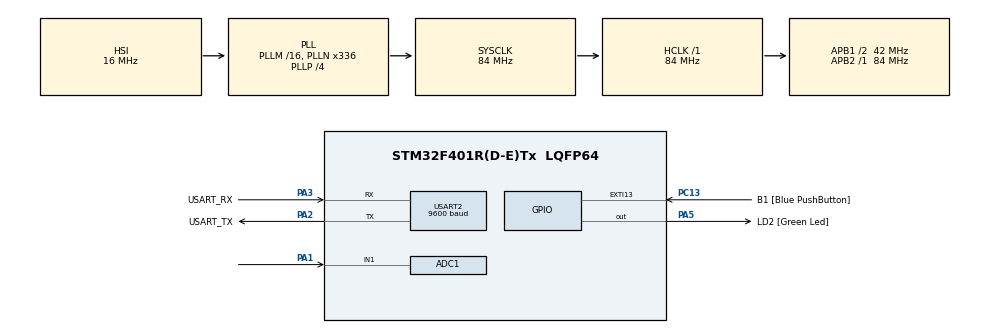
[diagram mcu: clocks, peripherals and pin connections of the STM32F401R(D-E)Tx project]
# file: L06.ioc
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ADC1.Channel-0\#ChannelRegularConversion=ADC_CHANNEL_1
ADC1.Channel-1\#ChannelRegularConversion=ADC_CHANNEL_TEMPSENSOR
ADC1.Channel-2\#ChannelRegularConversion=ADC_CHANNEL_VREFINT
ADC1.DMAContinuousRequests=ENABLE
ADC1.ExternalTrigConv=ADC_EXTERNALTRIGCONV_T2_TRGO
ADC1.ExternalTrigConvEdge=ADC_EXTERNALTRIGCONVEDGE_RISING
ADC1.NbrOfConversion=3
ADC1.NbrOfConversionFlag=1
ADC1.Rank-0\#ChannelRegularConversion=1
ADC1.Rank-1\#ChannelRegularConversion=2
ADC1.Rank-2\#ChannelRegularConversion=3
ADC1.SamplingTime-0\#ChannelRegularConversion=ADC_SAMPLETIME_480CYCLES
ADC1.SamplingTime-1\#ChannelRegularConversion=ADC_SAMPLETIME_480CYCLES
ADC1.SamplingTime-2\#ChannelRegularConversion=ADC_SAMPLETIME_480CYCLES
ADC1.ScanConvMode=ENABLE
ADC1.master=1
Dma.ADC1.0.Direction=DMA_PERIPH_TO_MEMORY
Dma.ADC1.0.FIFOMode=DMA_FIFOMODE_DISABLE
Dma.ADC1.0.Instance=DMA2_Stream0
Dma.ADC1.0.MemDataAlignment=DMA_MDATAALIGN_HALFWORD
Dma.ADC1.0.MemInc=DMA_MINC_ENABLE
Dma.ADC1.0.Mode=DMA_CIRCULAR
Dma.ADC1.0.PeriphDataAlignment=DMA_PDATAALIGN_HALFWORD
Dma.ADC1.0.PeriphInc=DMA_PINC_DISABLE
Dma.ADC1.0.Priority=DMA_PRIORITY_LOW
Dma.Request0=ADC1
Dma.Request1=USART2_TX
Dma.USART2_TX.1.Direction=DMA_MEMORY_TO_PERIPH
Dma.USART2_TX.1.FIFOMode=DMA_FIFOMODE_DISABLE
Dma.USART2_TX.1.Instance=DMA1_Stream6
Dma.USART2_TX.1.MemDataAlignment=DMA_MDATAALIGN_BYTE
Dma.USART2_TX.1.MemInc=DMA_MINC_ENABLE
Dma.USART2_TX.1.Mode=DMA_NORMAL
Dma.USART2_TX.1.PeriphDataAlignment=DMA_PDATAALIGN_BYTE
Dma.USART2_TX.1.PeriphInc=DMA_PINC_DISABLE
Dma.USART2_TX.1.Priority=DMA_PRIORITY_LOW
Mcu.Family=STM32F4
Mcu.Name=STM32F401R(D-E)Tx
Mcu.Package=LQFP64
NVIC.ADC_IRQn=true\:0\:0\:false\:false\:true\:true\:true\:true
NVIC.DMA1_Stream6_IRQn=true\:1\:0\:true\:false\:true\:false\:true\:true
NVIC.DMA2_Stream0_IRQn=true\:1\:0\:true\:false\:true\:false\:true\:true
NVIC.PriorityGroup=NVIC_PRIORITYGROUP_1
NVIC.TIM2_IRQn=true\:0\:0\:false\:false\:true\:true\:true\:true
NVIC.USART2_IRQn=true\:0\:0\:false\:false\:true\:true\:true\:true
PA1.Signal=ADCx_IN1
PA13.GPIO_Label=TMS
PA13.Mode=Serial_Wire
PA13.Signal=SYS_JTMS-SWDIO
PA14.GPIO_Label=TCK
PA14.Mode=Serial_Wire
PA14.Signal=SYS_JTCK-SWCLK
PA2.GPIO_Label=USART_TX
PA2.GPIO_Mode=GPIO_MODE_AF_PP
PA2.GPIO_PuPd=GPIO_NOPULL
PA2.GPIO_Speed=GPIO_SPEED_FREQ_LOW
PA2.Mode=Asynchronous
PA2.Signal=USART2_TX
PA3.GPIO_Label=USART_RX
PA3.GPIO_Mode=GPIO_MODE_AF_PP
PA3.GPIO_PuPd=GPIO_NOPULL
PA3.GPIO_Speed=GPIO_SPEED_FREQ_LOW
PA3.Mode=Asynchronous
PA3.Signal=USART2_RX
PA5.GPIO_Label=LD2 [Green Led]
PA5.GPIO_Mode=GPIO_MODE_OUTPUT_PP
PA5.GPIO_PuPd=GPIO_NOPULL
PA5.GPIO_Speed=GPIO_SPEED_FREQ_LOW
PA5.Signal=GPIO_Output
PB3.GPIO_Label=SWO
PB3.Signal=SYS_JTDO-SWO
PC13-ANTI_TAMP.GPIO_Label=B1 [Blue PushButton]
PC13-ANTI_TAMP.GPIO_ModeDefaultEXTI=GPIO_MODE_IT_FALLING
PC13-ANTI_TAMP.GPIO_PuPd=GPIO_NOPULL
PC13-ANTI_TAMP.Signal=GPXTI13
PC14-OSC32_IN.Mode=LSE-External-Oscillator
PC14-OSC32_IN.Signal=RCC_OSC32_IN
PC15-OSC32_OUT.Mode=LSE-External-Oscillator
PC15-OSC32_OUT.Signal=RCC_OSC32_OUT
PH0\ -\ OSC_IN.Mode=HSE-External-Clock-Source
PH0\ -\ OSC_IN.Signal=RCC_OSC_IN
PH1\ -\ OSC_OUT.Mode=HSE-External-Clock-Source
PH1\ -\ OSC_OUT.Signal=RCC_OSC_OUT
ProjectManager.HeapSize=0x200
ProjectManager.StackSize=0x400
ProjectManager.TargetToolchain=STM32CubeIDE
RCC.48MHZClocksFreq_Value=48000000
RCC.AHBFreq_Value=84000000
RCC.APB1CLKDivider=RCC_HCLK_DIV2
RCC.APB1Freq_Value=42000000
RCC.APB1TimFreq_Value=84000000
RCC.APB2Freq_Value=84000000
RCC.APB2TimFreq_Value=84000000
RCC.CortexFreq_Value=84000000
RCC.HCLKFreq_Value=84000000
RCC.HSE_VALUE=8000000
RCC.HSI_VALUE=16000000
RCC.PLLN=336
RCC.PLLP=RCC_PLLP_DIV4
RCC.PLLQ=7
RCC.SYSCLKFreq_VALUE=84000000
RCC.SYSCLKSource=RCC_SYSCLKSOURCE_PLLCLK
RCC.VCOOutputFreq_Value=336000000
SH.ADCx_IN1.0=ADC1_IN1,IN1
TIM2.Period=9999
TIM2.Prescaler=8399
TIM2.TIM_MasterOutputTrigger=TIM_TRGO_UPDATE
USART2.BaudRate=9600
USART2.VirtualMode=VM_ASYNC
VP_ADC1_TempSens_Input.Mode=IN-TempSens
VP_ADC1_Vref_Input.Mode=IN-Vrefint
VP_TIM2_VS_ClockSourceINT.Mode=Internal
board=NUCLEO-F401RE

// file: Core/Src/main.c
/* USER CODE BEGIN Header */
/**
  ******************************************************************************
  * @file           : main.c
  * @brief          : Main program body
  ******************************************************************************
  * @attention
  *
  * Copyright (c) 2024 STMicroelectronics.
  * All rights reserved.
  *
  * This software is licensed under terms that can be found in the LICENSE file
  * in the root directory of this software component.
  * If no LICENSE file comes with this software, it is provided AS-IS.
  *
  ******************************************************************************
  */
/* USER CODE END Header */
#include "main.h"

/* USER CODE BEGIN Includes */
#include <stdio.h>
/* USER CODE END Includes */

/* USER CODE BEGIN PD */
#define CONVERSIONS 3
#define FSR 3.3
#define V25 0.76
#define RESOLUTION_STEPS 4096.0
#define AVG_SLOPE 2.5
/* USER CODE END PD */

ADC_HandleTypeDef hadc1;
DMA_HandleTypeDef hdma_adc1;

TIM_HandleTypeDef htim2;

UART_HandleTypeDef huart2;
DMA_HandleTypeDef hdma_usart2_tx;

void SystemClock_Config(void);
static void MX_GPIO_Init(void);
static void MX_DMA_Init(void);
static void MX_USART2_UART_Init(void);
static void MX_TIM2_Init(void);
static void MX_ADC1_Init(void);

/* USER CODE BEGIN 0 */
uint16_t values[CONVERSIONS]; // array to be filled by ADC with DMA
float pot_voltage, temperature, vref; // values to be printed
char string[128]; //string to be sent through UART
uint16_t length; //length of string
/* USER CODE END 0 */

int main(void)
{

  /* MCU Configuration--------------------------------------------------------*/

  /* Reset of all peripherals, Initializes the Flash interface and the Systick. */
  HAL_Init();

  /* Configure the system clock */
  SystemClock_Config();

  /* Initialize all configured peripherals */
  MX_GPIO_Init();
  MX_DMA_Init();
  MX_USART2_UART_Init();
  MX_TIM2_Init();
  MX_ADC1_Init();
  /* USER CODE BEGIN 2 */
  HAL_TIM_Base_Start(&htim2);
  HAL_ADC_Start_DMA(&hadc1, values, CONVERSIONS);
  /* USER CODE END 2 */

  /* Infinite loop */
  while (1)
  {

  }
}

void SystemClock_Config(void)
{
  RCC_OscInitTypeDef RCC_OscInitStruct = {0};
  RCC_ClkInitTypeDef RCC_ClkInitStruct = {0};

  /** Configure the main internal regulator output voltage
  */
  __HAL_RCC_PWR_CLK_ENABLE();
  __HAL_PWR_VOLTAGESCALING_CONFIG(PWR_REGULATOR_VOLTAGE_SCALE2);

  /** Initializes the RCC Oscillators according to the specified parameters
  * in the RCC_OscInitTypeDef structure.
  */
  RCC_OscInitStruct.OscillatorType = RCC_OSCILLATORTYPE_HSI;
  RCC_OscInitStruct.HSIState = RCC_HSI_ON;
  RCC_OscInitStruct.HSICalibrationValue = RCC_HSICALIBRATION_DEFAULT;
  RCC_OscInitStruct.PLL.PLLState = RCC_PLL_ON;
  RCC_OscInitStruct.PLL.PLLSource = RCC_PLLSOURCE_HSI;
  RCC_OscInitStruct.PLL.PLLM = 16;
  RCC_OscInitStruct.PLL.PLLN = 336;
  RCC_OscInitStruct.PLL.PLLP = RCC_PLLP_DIV4;
  RCC_OscInitStruct.PLL.PLLQ = 7;
  if (HAL_RCC_OscConfig(&RCC_OscInitStruct) != HAL_OK)
  {
    Error_Handler();
  }

  /** Initializes the CPU, AHB and APB buses clocks
  */
  RCC_ClkInitStruct.ClockType = RCC_CLOCKTYPE_HCLK|RCC_CLOCKTYPE_SYSCLK
                              |RCC_CLOCKTYPE_PCLK1|RCC_CLOCKTYPE_PCLK2;
  RCC_ClkInitStruct.SYSCLKSource = RCC_SYSCLKSOURCE_PLLCLK;
  RCC_ClkInitStruct.AHBCLKDivider = RCC_SYSCLK_DIV1;
  RCC_ClkInitStruct.APB1CLKDivider = RCC_HCLK_DIV2;
  RCC_ClkInitStruct.APB2CLKDivider = RCC_HCLK_DIV1;

  if (HAL_RCC_ClockConfig(&RCC_ClkInitStruct, FLASH_LATENCY_2) != HAL_OK)
  {
    Error_Handler();
  }
}

static void MX_ADC1_Init(void)
{

  ADC_ChannelConfTypeDef sConfig = {0};

  /** Configure the global features of the ADC (Clock, Resolution, Data Alignment and number of conversion)
  */
  hadc1.Instance = ADC1;
  hadc1.Init.ClockPrescaler = ADC_CLOCK_SYNC_PCLK_DIV4;
  hadc1.Init.Resolution = ADC_RESOLUTION_12B;
  hadc1.Init.ScanConvMode = ENABLE;
  hadc1.Init.ContinuousConvMode = DISABLE;
  hadc1.Init.DiscontinuousConvMode = DISABLE;
  hadc1.Init.ExternalTrigConvEdge = ADC_EXTERNALTRIGCONVEDGE_RISING;
  hadc1.Init.ExternalTrigConv = ADC_EXTERNALTRIGCONV_T2_TRGO;
  hadc1.Init.DataAlign = ADC_DATAALIGN_RIGHT;
  hadc1.Init.NbrOfConversion = 3;
  hadc1.Init.DMAContinuousRequests = ENABLE;
  hadc1.Init.EOCSelection = ADC_EOC_SINGLE_CONV;
  if (HAL_ADC_Init(&hadc1) != HAL_OK)
  {
    Error_Handler();
  }

  /** Configure for the selected ADC regular channel its corresponding rank in the sequencer and its sample time.
  */
  sConfig.Channel = ADC_CHANNEL_1;
  sConfig.Rank = 1;
  sConfig.SamplingTime = ADC_SAMPLETIME_480CYCLES;
  if (HAL_ADC_ConfigChannel(&hadc1, &sConfig) != HAL_OK)
  {
    Error_Handler();
  }

  /** Configure for the selected ADC regular channel its corresponding rank in the sequencer and its sample time.
  */
  sConfig.Channel = ADC_CHANNEL_TEMPSENSOR;
  sConfig.Rank = 2;
  if (HAL_ADC_ConfigChannel(&hadc1, &sConfig) != HAL_OK)
  {
    Error_Handler();
  }

  /** Configure for the selected ADC regular channel its corresponding rank in the sequencer and its sample time.
  */
  sConfig.Channel = ADC_CHANNEL_VREFINT;
  sConfig.Rank = 3;
  if (HAL_ADC_ConfigChannel(&hadc1, &sConfig) != HAL_OK)
  {
    Error_Handler();
  }

}

static void MX_TIM2_Init(void)
{

  TIM_ClockConfigTypeDef sClockSourceConfig = {0};
  TIM_MasterConfigTypeDef sMasterConfig = {0};

  htim2.Instance = TIM2;
  htim2.Init.Prescaler = 8399;
  htim2.Init.CounterMode = TIM_COUNTERMODE_UP;
  htim2.Init.Period = 9999;
  htim2.Init.ClockDivision = TIM_CLOCKDIVISION_DIV1;
  htim2.Init.AutoReloadPreload = TIM_AUTORELOAD_PRELOAD_DISABLE;
  if (HAL_TIM_Base_Init(&htim2) != HAL_OK)
  {
    Error_Handler();
  }
  sClockSourceConfig.ClockSource = TIM_CLOCKSOURCE_INTERNAL;
  if (HAL_TIM_ConfigClockSource(&htim2, &sClockSourceConfig) != HAL_OK)
  {
    Error_Handler();
  }
  sMasterConfig.MasterOutputTrigger = TIM_TRGO_UPDATE;
  sMasterConfig.MasterSlaveMode = TIM_MASTERSLAVEMODE_DISABLE;
  if (HAL_TIMEx_MasterConfigSynchronization(&htim2, &sMasterConfig) != HAL_OK)
  {
    Error_Handler();
  }

}

static void MX_USART2_UART_Init(void)
{

  huart2.Instance = USART2;
  huart2.Init.BaudRate = 9600;
  huart2.Init.WordLength = UART_WORDLENGTH_8B;
  huart2.Init.StopBits = UART_STOPBITS_1;
  huart2.Init.Parity = UART_PARITY_NONE;
  huart2.Init.Mode = UART_MODE_TX_RX;
  huart2.Init.HwFlowCtl = UART_HWCONTROL_NONE;
  huart2.Init.OverSampling = UART_OVERSAMPLING_16;
  if (HAL_UART_Init(&huart2) != HAL_OK)
  {
    Error_Handler();
  }

}

static void MX_DMA_Init(void)
{

  /* DMA controller clock enable */
  __HAL_RCC_DMA2_CLK_ENABLE();
  __HAL_RCC_DMA1_CLK_ENABLE();

  /* DMA interrupt init */
  /* DMA1_Stream6_IRQn interrupt configuration */
  HAL_NVIC_SetPriority(DMA1_Stream6_IRQn, 1, 0);
  HAL_NVIC_EnableIRQ(DMA1_Stream6_IRQn);
  /* DMA2_Stream0_IRQn interrupt configuration */
  HAL_NVIC_SetPriority(DMA2_Stream0_IRQn, 1, 0);
  HAL_NVIC_EnableIRQ(DMA2_Stream0_IRQn);

}

static void MX_GPIO_Init(void)
{
  GPIO_InitTypeDef GPIO_InitStruct = {0};

  /* GPIO Ports Clock Enable */
  __HAL_RCC_GPIOC_CLK_ENABLE();
  __HAL_RCC_GPIOH_CLK_ENABLE();
  __HAL_RCC_GPIOA_CLK_ENABLE();
  __HAL_RCC_GPIOB_CLK_ENABLE();

  /*Configure GPIO pin Output Level */
  HAL_GPIO_WritePin(LD2_GPIO_Port, LD2_Pin, GPIO_PIN_RESET);

  /*Configure GPIO pin : B1_Pin */
  GPIO_InitStruct.Pin = B1_Pin;
  GPIO_InitStruct.Mode = GPIO_MODE_IT_FALLING;
  GPIO_InitStruct.Pull = GPIO_NOPULL;
  HAL_GPIO_Init(B1_GPIO_Port, &GPIO_InitStruct);

  /*Configure GPIO pin : LD2_Pin */
  GPIO_InitStruct.Pin = LD2_Pin;
  GPIO_InitStruct.Mode = GPIO_MODE_OUTPUT_PP;
  GPIO_InitStruct.Pull = GPIO_NOPULL;
  GPIO_InitStruct.Speed = GPIO_SPEED_FREQ_LOW;
  HAL_GPIO_Init(LD2_GPIO_Port, &GPIO_InitStruct);

}

/* USER CODE BEGIN 4 */
void HAL_ADC_ConvCpltCallback(ADC_HandleTypeDef* hadc) {
	pot_voltage = values[0] * FSR/RESOLUTION_STEPS; // convert digital value to voltage
	temperature = (values[1] * FSR/RESOLUTION_STEPS - V25)/AVG_SLOPE + 25;
	vref = values[2] * FSR/RESOLUTION_STEPS;
	length = snprintf(string, sizeof(string), "Potentiometer voltage: %.3f V; Temperature: %.3f ºC; Vref: %.3f V\n", pot_voltage, temperature, vref);

	HAL_UART_Transmit_DMA(&huart2, string, length);
}
/* USER CODE END 4 */

void Error_Handler(void)
{
  __disable_irq();
  while (1)
  {
  }
}
